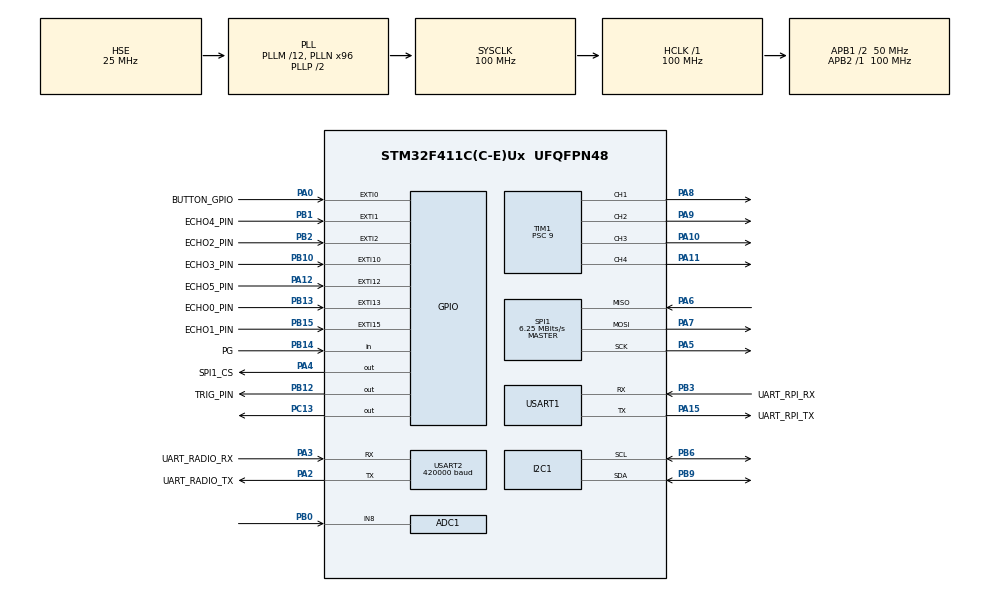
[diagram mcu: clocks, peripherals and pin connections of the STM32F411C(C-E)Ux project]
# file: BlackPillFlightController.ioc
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ADC1.Channel-1\#ChannelRegularConversion=ADC_CHANNEL_8
ADC1.NbrOfConversionFlag=1
ADC1.Rank-1\#ChannelRegularConversion=1
ADC1.SamplingTime-1\#ChannelRegularConversion=ADC_SAMPLETIME_3CYCLES
ADC1.master=1
Dma.I2C1_RX.6.Direction=DMA_PERIPH_TO_MEMORY
Dma.I2C1_RX.6.FIFOMode=DMA_FIFOMODE_DISABLE
Dma.I2C1_RX.6.Instance=DMA1_Stream0
Dma.I2C1_RX.6.MemDataAlignment=DMA_MDATAALIGN_BYTE
Dma.I2C1_RX.6.MemInc=DMA_MINC_ENABLE
Dma.I2C1_RX.6.Mode=DMA_NORMAL
Dma.I2C1_RX.6.PeriphDataAlignment=DMA_PDATAALIGN_BYTE
Dma.I2C1_RX.6.PeriphInc=DMA_PINC_DISABLE
Dma.I2C1_RX.6.Priority=DMA_PRIORITY_HIGH
Dma.Request0=USART1_TX
Dma.Request1=SPI1_RX
Dma.Request2=SPI1_TX
Dma.Request3=USART1_RX
Dma.Request4=USART2_RX
Dma.Request5=TIM1_CH4/TRIG/COM
Dma.Request6=I2C1_RX
Dma.SPI1_RX.1.Direction=DMA_PERIPH_TO_MEMORY
Dma.SPI1_RX.1.FIFOMode=DMA_FIFOMODE_DISABLE
Dma.SPI1_RX.1.Instance=DMA2_Stream0
Dma.SPI1_RX.1.MemDataAlignment=DMA_MDATAALIGN_BYTE
Dma.SPI1_RX.1.MemInc=DMA_MINC_ENABLE
Dma.SPI1_RX.1.Mode=DMA_NORMAL
Dma.SPI1_RX.1.PeriphDataAlignment=DMA_PDATAALIGN_BYTE
Dma.SPI1_RX.1.PeriphInc=DMA_PINC_DISABLE
Dma.SPI1_RX.1.Priority=DMA_PRIORITY_LOW
Dma.SPI1_TX.2.Direction=DMA_MEMORY_TO_PERIPH
Dma.SPI1_TX.2.FIFOMode=DMA_FIFOMODE_DISABLE
Dma.SPI1_TX.2.Instance=DMA2_Stream3
Dma.SPI1_TX.2.MemDataAlignment=DMA_MDATAALIGN_BYTE
Dma.SPI1_TX.2.MemInc=DMA_MINC_ENABLE
Dma.SPI1_TX.2.Mode=DMA_NORMAL
Dma.SPI1_TX.2.PeriphDataAlignment=DMA_PDATAALIGN_BYTE
Dma.SPI1_TX.2.PeriphInc=DMA_PINC_DISABLE
Dma.SPI1_TX.2.Priority=DMA_PRIORITY_LOW
Dma.TIM1_CH4/TRIG/COM.5.Direction=DMA_MEMORY_TO_PERIPH
Dma.TIM1_CH4/TRIG/COM.5.FIFOMode=DMA_FIFOMODE_DISABLE
Dma.TIM1_CH4/TRIG/COM.5.Instance=DMA2_Stream4
Dma.TIM1_CH4/TRIG/COM.5.MemDataAlignment=DMA_MDATAALIGN_HALFWORD
Dma.TIM1_CH4/TRIG/COM.5.MemInc=DMA_MINC_ENABLE
Dma.TIM1_CH4/TRIG/COM.5.Mode=DMA_NORMAL
Dma.TIM1_CH4/TRIG/COM.5.PeriphDataAlignment=DMA_PDATAALIGN_HALFWORD
Dma.TIM1_CH4/TRIG/COM.5.PeriphInc=DMA_PINC_DISABLE
Dma.TIM1_CH4/TRIG/COM.5.Priority=DMA_PRIORITY_HIGH
Dma.USART1_RX.3.Direction=DMA_PERIPH_TO_MEMORY
Dma.USART1_RX.3.FIFOMode=DMA_FIFOMODE_DISABLE
Dma.USART1_RX.3.Instance=DMA2_Stream5
Dma.USART1_RX.3.MemDataAlignment=DMA_MDATAALIGN_BYTE
Dma.USART1_RX.3.MemInc=DMA_MINC_ENABLE
Dma.USART1_RX.3.Mode=DMA_CIRCULAR
Dma.USART1_RX.3.PeriphDataAlignment=DMA_PDATAALIGN_BYTE
Dma.USART1_RX.3.PeriphInc=DMA_PINC_DISABLE
Dma.USART1_RX.3.Priority=DMA_PRIORITY_LOW
Dma.USART1_TX.0.Direction=DMA_MEMORY_TO_PERIPH
Dma.USART1_TX.0.FIFOMode=DMA_FIFOMODE_DISABLE
Dma.USART1_TX.0.Instance=DMA2_Stream7
Dma.USART1_TX.0.MemDataAlignment=DMA_MDATAALIGN_BYTE
Dma.USART1_TX.0.MemInc=DMA_MINC_ENABLE
Dma.USART1_TX.0.Mode=DMA_NORMAL
Dma.USART1_TX.0.PeriphDataAlignment=DMA_PDATAALIGN_BYTE
Dma.USART1_TX.0.PeriphInc=DMA_PINC_DISABLE
Dma.USART1_TX.0.Priority=DMA_PRIORITY_LOW
Dma.USART2_RX.4.Direction=DMA_PERIPH_TO_MEMORY
Dma.USART2_RX.4.FIFOMode=DMA_FIFOMODE_DISABLE
Dma.USART2_RX.4.Instance=DMA1_Stream5
Dma.USART2_RX.4.MemDataAlignment=DMA_MDATAALIGN_BYTE
Dma.USART2_RX.4.MemInc=DMA_MINC_ENABLE
Dma.USART2_RX.4.Mode=DMA_CIRCULAR
Dma.USART2_RX.4.PeriphDataAlignment=DMA_PDATAALIGN_BYTE
Dma.USART2_RX.4.PeriphInc=DMA_PINC_DISABLE
Dma.USART2_RX.4.Priority=DMA_PRIORITY_LOW
FREERTOS.Tasks01=defaultTask,24,128,StartDefaultTask,Default,NULL,Dynamic,NULL,NULL
FREERTOS.configCHECK_FOR_STACK_OVERFLOW=2
FREERTOS.configENABLE_FPU=1
FREERTOS.configGENERATE_RUN_TIME_STATS=1
FREERTOS.configUSE_MALLOC_FAILED_HOOK=1
FREERTOS.configUSE_NEWLIB_REENTRANT=1
FREERTOS.configUSE_STATS_FORMATTING_FUNCTIONS=1
I2C1.I2C_Mode=I2C_Fast
Mcu.Family=STM32F4
Mcu.Name=STM32F411C(C-E)Ux
Mcu.Package=UFQFPN48
NVIC.DMA1_Stream0_IRQn=true\:6\:0\:true\:false\:true\:true\:false\:true\:true
NVIC.DMA1_Stream5_IRQn=true\:7\:0\:true\:false\:true\:true\:false\:true\:true
NVIC.DMA2_Stream0_IRQn=true\:7\:0\:true\:false\:true\:true\:false\:true\:true
NVIC.DMA2_Stream3_IRQn=true\:7\:0\:true\:false\:true\:true\:false\:true\:true
NVIC.DMA2_Stream4_IRQn=true\:6\:0\:true\:false\:true\:true\:false\:true\:true
NVIC.DMA2_Stream5_IRQn=true\:6\:0\:true\:false\:true\:true\:false\:true\:true
NVIC.DMA2_Stream7_IRQn=true\:6\:0\:true\:false\:true\:true\:false\:true\:true
NVIC.EXTI0_IRQn=true\:5\:0\:true\:false\:true\:true\:true\:true\:true
NVIC.EXTI15_10_IRQn=true\:5\:0\:true\:false\:true\:true\:true\:true\:true
NVIC.EXTI1_IRQn=true\:5\:0\:true\:false\:true\:true\:true\:true\:true
NVIC.EXTI2_IRQn=true\:5\:0\:true\:false\:true\:true\:true\:true\:true
NVIC.I2C1_EV_IRQn=true\:6\:0\:true\:false\:true\:true\:true\:true\:true
NVIC.PriorityGroup=NVIC_PRIORITYGROUP_4
NVIC.SPI1_IRQn=true\:7\:0\:true\:false\:true\:true\:true\:true\:true
NVIC.TIM2_IRQn=true\:15\:0\:true\:false\:true\:false\:false\:true\:true
NVIC.TIM3_IRQn=true\:5\:0\:true\:false\:true\:true\:true\:true\:true
NVIC.TIM5_IRQn=true\:6\:0\:true\:false\:true\:true\:true\:true\:true
NVIC.TimeBase=TIM2_IRQn
NVIC.TimeBaseIP=TIM2
NVIC.USART1_IRQn=true\:7\:0\:true\:false\:true\:true\:true\:true\:true
NVIC.USART2_IRQn=true\:7\:0\:true\:false\:true\:true\:true\:true\:true
PA0-WKUP.GPIO_Label=BUTTON_GPIO
PA0-WKUP.GPIO_ModeDefaultEXTI=GPIO_MODE_IT_FALLING
PA0-WKUP.GPIO_PuPd=GPIO_PULLUP
PA0-WKUP.Signal=GPXTI0
PA10.Signal=S_TIM1_CH3
PA11.Signal=S_TIM1_CH4
PA12.GPIO_Label=ECHO5_PIN
PA12.GPIO_ModeDefaultEXTI=GPIO_MODE_IT_RISING_FALLING
PA12.Signal=GPXTI12
PA13.Mode=Serial_Wire
PA13.Signal=SYS_JTMS-SWDIO
PA14.Mode=Serial_Wire
PA14.Signal=SYS_JTCK-SWCLK
PA15.GPIO_Label=UART_RPI_TX
PA15.Mode=Asynchronous
PA15.Signal=USART1_TX
PA2.GPIO_Label=UART_RADIO_TX
PA2.Mode=Asynchronous
PA2.Signal=USART2_TX
PA3.GPIO_Label=UART_RADIO_RX
PA3.Mode=Asynchronous
PA3.Signal=USART2_RX
PA4.GPIO_Label=SPI1_CS
PA4.GPIO_Speed=GPIO_SPEED_FREQ_VERY_HIGH
PA4.PinState=GPIO_PIN_SET
PA4.Signal=GPIO_Output
PA5.Mode=Full_Duplex_Master
PA5.Signal=SPI1_SCK
PA6.Mode=Full_Duplex_Master
PA6.Signal=SPI1_MISO
PA7.Mode=Full_Duplex_Master
PA7.Signal=SPI1_MOSI
PA8.Signal=S_TIM1_CH1
PA9.Signal=S_TIM1_CH2
PB0.Signal=ADCx_IN8
PB1.GPIO_Label=ECHO4_PIN
PB1.GPIO_ModeDefaultEXTI=GPIO_MODE_IT_RISING_FALLING
PB1.Signal=GPXTI1
PB10.GPIO_Label=ECHO3_PIN
PB10.GPIO_ModeDefaultEXTI=GPIO_MODE_IT_RISING_FALLING
PB10.Signal=GPXTI10
PB12.GPIO_Label=TRIG_PIN
PB12.GPIO_ModeDefaultOutputPP=GPIO_MODE_OUTPUT_OD
PB12.GPIO_PuPd=GPIO_NOPULL
PB12.GPIO_Speed=GPIO_SPEED_FREQ_VERY_HIGH
PB12.Signal=GPIO_Output
PB13.GPIO_Label=ECHO0_PIN
PB13.GPIO_ModeDefaultEXTI=GPIO_MODE_IT_RISING_FALLING
PB13.Signal=GPXTI13
PB14.GPIO_Label=PG
PB14.GPIO_PuPd=GPIO_PULLUP
PB14.Signal=GPIO_Input
PB15.GPIO_Label=ECHO1_PIN
PB15.GPIO_ModeDefaultEXTI=GPIO_MODE_IT_RISING_FALLING
PB15.Signal=GPXTI15
PB2.GPIO_Label=ECHO2_PIN
PB2.GPIO_ModeDefaultEXTI=GPIO_MODE_IT_RISING_FALLING
PB2.Signal=GPXTI2
PB3.GPIO_Label=UART_RPI_RX
PB3.Mode=Asynchronous
PB3.Signal=USART1_RX
PB6.Mode=I2C
PB6.Signal=I2C1_SCL
PB7.Signal=S_TIM4_CH2
PB9.Mode=I2C
PB9.Signal=I2C1_SDA
PC13-ANTI_TAMP.Signal=GPIO_Output
PC14-OSC32_IN.Mode=LSE-External-Oscillator
PC14-OSC32_IN.Signal=RCC_OSC32_IN
PC15-OSC32_OUT.Mode=LSE-External-Oscillator
PC15-OSC32_OUT.Signal=RCC_OSC32_OUT
PH0\ -\ OSC_IN.Mode=HSE-External-Oscillator
PH0\ -\ OSC_IN.Signal=RCC_OSC_IN
PH1\ -\ OSC_OUT.Mode=HSE-External-Oscillator
PH1\ -\ OSC_OUT.Signal=RCC_OSC_OUT
ProjectManager.HeapSize=0x200
ProjectManager.StackSize=0x5200
ProjectManager.TargetToolchain=CMake
RCC.48MHZClocksFreq_Value=50000000
RCC.AHBFreq_Value=100000000
RCC.APB1CLKDivider=RCC_HCLK_DIV2
RCC.APB1Freq_Value=50000000
RCC.APB1TimFreq_Value=100000000
RCC.APB2Freq_Value=100000000
RCC.APB2TimFreq_Value=100000000
RCC.CortexFreq_Value=100000000
RCC.HCLKFreq_Value=100000000
RCC.HSE_VALUE=25000000
RCC.HSI_VALUE=16000000
RCC.PLLM=12
RCC.PLLN=96
RCC.PLLSourceVirtual=RCC_PLLSOURCE_HSE
RCC.RCC_RTC_Clock_Source=RCC_RTCCLKSOURCE_LSE
RCC.RCC_RTC_Clock_SourceVirtual=RCC_RTCCLKSOURCE_LSE
RCC.SYSCLKFreq_VALUE=100000000
RCC.SYSCLKSource=RCC_SYSCLKSOURCE_PLLCLK
RCC.VCOOutputFreq_Value=200000000
SH.ADCx_IN8.0=ADC1_IN8,IN8
SH.S_TIM1_CH1.0=TIM1_CH1,PWM Generation1 CH1
SH.S_TIM1_CH2.0=TIM1_CH2,PWM Generation2 CH2
SH.S_TIM1_CH3.0=TIM1_CH3,PWM Generation3 CH3
SH.S_TIM1_CH4.0=TIM1_CH4,PWM Generation4 CH4
SH.S_TIM4_CH2.0=TIM4_CH2
SPI1.BaudRatePrescaler=SPI_BAUDRATEPRESCALER_16
SPI1.CalculateBaudRate=6.25 MBits/s
SPI1.Direction=SPI_DIRECTION_2LINES
SPI1.Mode=SPI_MODE_MASTER
SPI1.VirtualType=VM_MASTER
TIM1.AutoReloadPreload=TIM_AUTORELOAD_PRELOAD_ENABLE
TIM1.Channel-PWM\ Generation1\ CH1=TIM_CHANNEL_1
TIM1.Channel-PWM\ Generation2\ CH2=TIM_CHANNEL_2
TIM1.Channel-PWM\ Generation3\ CH3=TIM_CHANNEL_3
TIM1.Channel-PWM\ Generation4\ CH4=TIM_CHANNEL_4
TIM1.Prescaler=9
TIM3.Channel-Output\ Compare1\ No\ Output=TIM_CHANNEL_1
TIM3.Channel-Output\ Compare2\ No\ Output=TIM_CHANNEL_2
TIM3.Period=65000
TIM3.Prescaler=99
TIM3.TIM_MasterOutputTrigger=TIM_TRGO_OC1REF
TIM4.Channel-Output\ Compare2\ No\ Output=TIM_CHANNEL_2
TIM4.Prescaler=9
TIM4.TIM_MasterOutputTrigger=TIM_TRGO_UPDATE
TIM5.Prescaler=9999
TIM5.TIM_MasterOutputTrigger=TIM_TRGO_UPDATE
USART1.VirtualMode=VM_ASYNC
USART2.BaudRate=420000
USART2.VirtualMode=VM_ASYNC
VP_FREERTOS_VS_CMSIS_V2.Mode=CMSIS_V2
VP_IWDG_VS_IWDG.Mode=IWDG_Activate
VP_RTC_VS_RTC_Activate.Mode=RTC_Enabled
VP_RTC_VS_RTC_Calendar.Mode=RTC_Calendar
VP_SYS_VS_tim2.Mode=TIM2
VP_TIM1_VS_ClockSourceINT.Mode=Internal
VP_TIM3_VS_ClockSourceINT.Mode=Internal
VP_TIM3_VS_no_output1.Mode=Output Compare1 No Output
VP_TIM3_VS_no_output2.Mode=Output Compare2 No Output
VP_TIM4_VS_ClockSourceINT.Mode=Internal
VP_TIM4_VS_no_output2.Mode=Output Compare2 No Output
VP_TIM5_VS_ClockSourceINT.Mode=Internal
board=custom

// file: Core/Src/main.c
/* USER CODE BEGIN Header */
/**
 ******************************************************************************
 * @file           : main.c
 * @brief          : Main program body
 ******************************************************************************
 * @attention
 *
 * Copyright (c) 2025 STMicroelectronics.
 * All rights reserved.
 *
 * This software is licensed under terms that can be found in the LICENSE file
 * in the root directory of this software component.
 * If no LICENSE file comes with this software, it is provided AS-IS.
 *
 ******************************************************************************
 */
/* USER CODE END Header */
#include "main.h"
#include "cmsis_os.h"
#include "adc.h"
#include "dma.h"
#include "i2c.h"
#include "iwdg.h"
#include "rtc.h"
#include "spi.h"
#include "tim.h"
#include "usart.h"
#include "gpio.h"

/* USER CODE BEGIN Includes */
#include "Tasks.h"
#include <string.h>
/* USER CODE END Includes */

void SystemClock_Config(void);
void MX_FREERTOS_Init(void);

int main(void)
{

  /* MCU Configuration--------------------------------------------------------*/

  /* Reset of all peripherals, Initializes the Flash interface and the Systick. */
  HAL_Init();

  /* Configure the system clock */
  SystemClock_Config();

  /* Initialize all configured peripherals */
  MX_GPIO_Init();
  MX_DMA_Init();
  MX_USART1_UART_Init();
  MX_I2C1_Init();
  MX_TIM1_Init();
  MX_SPI1_Init();
  MX_TIM3_Init();
  MX_USART2_UART_Init();
  MX_ADC1_Init();
  MX_RTC_Init();
  MX_TIM5_Init();
  MX_TIM4_Init();
  MX_IWDG_Init();

  /* Init scheduler */
  osKernelInitialize();  /* Call init function for freertos objects (in cmsis_os2.c) */
  MX_FREERTOS_Init();

  /* Start scheduler */
  osKernelStart();

  /* We should never get here as control is now taken by the scheduler */

  /* Infinite loop */
  while (1) {

  }
}

void SystemClock_Config(void)
{
  RCC_OscInitTypeDef RCC_OscInitStruct = {0};
  RCC_ClkInitTypeDef RCC_ClkInitStruct = {0};

  /** Configure the main internal regulator output voltage
  */
  __HAL_RCC_PWR_CLK_ENABLE();
  __HAL_PWR_VOLTAGESCALING_CONFIG(PWR_REGULATOR_VOLTAGE_SCALE1);

  /** Initializes the RCC Oscillators according to the specified parameters
  * in the RCC_OscInitTypeDef structure.
  */
  RCC_OscInitStruct.OscillatorType = RCC_OSCILLATORTYPE_LSI|RCC_OSCILLATORTYPE_HSE
                              |RCC_OSCILLATORTYPE_LSE;
  RCC_OscInitStruct.HSEState = RCC_HSE_ON;
  RCC_OscInitStruct.LSEState = RCC_LSE_ON;
  RCC_OscInitStruct.LSIState = RCC_LSI_ON;
  RCC_OscInitStruct.PLL.PLLState = RCC_PLL_ON;
  RCC_OscInitStruct.PLL.PLLSource = RCC_PLLSOURCE_HSE;
  RCC_OscInitStruct.PLL.PLLM = 12;
  RCC_OscInitStruct.PLL.PLLN = 96;
  RCC_OscInitStruct.PLL.PLLP = RCC_PLLP_DIV2;
  RCC_OscInitStruct.PLL.PLLQ = 4;
  if (HAL_RCC_OscConfig(&RCC_OscInitStruct) != HAL_OK)
  {
    Error_Handler();
  }

  /** Initializes the CPU, AHB and APB buses clocks
  */
  RCC_ClkInitStruct.ClockType = RCC_CLOCKTYPE_HCLK|RCC_CLOCKTYPE_SYSCLK
                              |RCC_CLOCKTYPE_PCLK1|RCC_CLOCKTYPE_PCLK2;
  RCC_ClkInitStruct.SYSCLKSource = RCC_SYSCLKSOURCE_PLLCLK;
  RCC_ClkInitStruct.AHBCLKDivider = RCC_SYSCLK_DIV1;
  RCC_ClkInitStruct.APB1CLKDivider = RCC_HCLK_DIV2;
  RCC_ClkInitStruct.APB2CLKDivider = RCC_HCLK_DIV1;

  if (HAL_RCC_ClockConfig(&RCC_ClkInitStruct, FLASH_LATENCY_3) != HAL_OK)
  {
    Error_Handler();
  }
}

void HAL_TIM_PeriodElapsedCallback(TIM_HandleTypeDef *htim)
{
  /* USER CODE BEGIN Callback 0 */
  // if (htim->Instance == TIM3) {
  //   TIM3_TaskNotifyISR();
  // }
  /* USER CODE END Callback 0 */
  if (htim->Instance == TIM2)
  {
    HAL_IncTick();
  }
}

void Error_Handler(void)
{
  /* USER CODE BEGIN Error_Handler_Debug */
  /* User can add his own implementation to report the HAL error return state */
  TaskHandle_t h = xTaskGetCurrentTaskHandle();
  const char *name = pcTaskGetTaskName(h);
  uint8_t buf[100];
  memcpy(buf, "ERR_HANDLER", 12);
  memcpy(buf + 12, name, 80);
  buf[99] = '\0';
  HAL_UART_Transmit(&huart1, buf, sizeof(buf), HAL_MAX_DELAY);
  __disable_irq();
  while (1) {
  }
  /* USER CODE END Error_Handler_Debug */
}
#ifdef USE_FULL_ASSERT
/**
  * @brief  Reports the name of the source file and the source line number
  *         where the assert_param error has occurred.
  * @param  file: pointer to the source file name
  * @param  line: assert_param error line source number
  * @retval None
  */
void assert_failed(uint8_t *file, uint32_t line)
{
  /* USER CODE BEGIN 6 */
  /* User can add his own implementation to report the file name and line
     number, ex: printf("Wrong parameters value: file %s on line %d\r\n", file,
     line) */
  /* USER CODE END 6 */
}
#endif /* USE_FULL_ASSERT */

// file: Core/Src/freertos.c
/* USER CODE BEGIN Header */
/**
 ******************************************************************************
 * File Name          : freertos.c
 * Description        : Code for freertos applications
 ******************************************************************************
 * @attention
 *
 * Copyright (c) 2025 STMicroelectronics.
 * All rights reserved.
 *
 * This software is licensed under terms that can be found in the LICENSE file
 * in the root directory of this software component.
 * If no LICENSE file comes with this software, it is provided AS-IS.
 *
 ******************************************************************************
 */
/* USER CODE END Header */

#include "FreeRTOS.h"
#include "task.h"
#include "main.h"
#include "cmsis_os.h"

/* USER CODE BEGIN Includes */

#include "Program.h"

/* USER CODE END Includes */

/* Definitions for defaultTask */
osThreadId_t defaultTaskHandle;
const osThreadAttr_t defaultTask_attributes = {
  .name = "defaultTask",
  .stack_size = 128 * 4,
  .priority = (osPriority_t) osPriorityNormal,
};

void StartDefaultTask(void *argument);

void MX_FREERTOS_Init(void); /* (MISRA C 2004 rule 8.1) */

/* Hook prototypes */
void configureTimerForRunTimeStats(void);
unsigned long getRunTimeCounterValue(void);
void vApplicationStackOverflowHook(xTaskHandle xTask, signed char *pcTaskName);
void vApplicationMallocFailedHook(void);

/* USER CODE BEGIN 1 */

/* Functions needed when configGENERATE_RUN_TIME_STATS is on */
void configureTimerForRunTimeStats(void) {}

uint32_t getRunTimeCounterValue(void) { return TIM5->CNT; }
/* USER CODE END 1 */

/* USER CODE BEGIN 4 */
void vApplicationStackOverflowHook(xTaskHandle xTask, signed char *pcTaskName) {
  /* Run time stack overflow checking is performed if
  configCHECK_FOR_STACK_OVERFLOW is defined to 1 or 2. This hook function is
  called if a stack overflow is detected. */
  Error_Handler();
}
/* USER CODE END 4 */

/* USER CODE BEGIN 5 */
void vApplicationMallocFailedHook(void) {
  /* vApplicationMallocFailedHook() will only be called if
  configUSE_MALLOC_FAILED_HOOK is set to 1 in FreeRTOSConfig.h. It is a hook
  function that will get called if a call to pvPortMalloc() fails.
  pvPortMalloc() is called internally by the kernel whenever a task, queue,
  timer or semaphore is created. It is also called by various parts of the
  demo application. If heap_1.c or heap_2.c are used, then the size of the
  heap available to pvPortMalloc() is defined by configTOTAL_HEAP_SIZE in
  FreeRTOSConfig.h, and the xPortGetFreeHeapSize() API function can be used
  to query the size of free heap space that remains (although it does not
  provide information on how the remaining heap might be fragmented). */
}
/* USER CODE END 5 */

void MX_FREERTOS_Init(void) {
  /* USER CODE BEGIN Init */
  Init();
  /* USER CODE END Init */

  /* Create the thread(s) */
  /* creation of defaultTask */
  defaultTaskHandle = osThreadNew(StartDefaultTask, NULL, &defaultTask_attributes);

}

void StartDefaultTask(void *argument)
{
  /* USER CODE BEGIN StartDefaultTask */
  for (;;) {
    vTaskSuspend(defaultTaskHandle);
  }
  /* USER CODE END StartDefaultTask */
}
